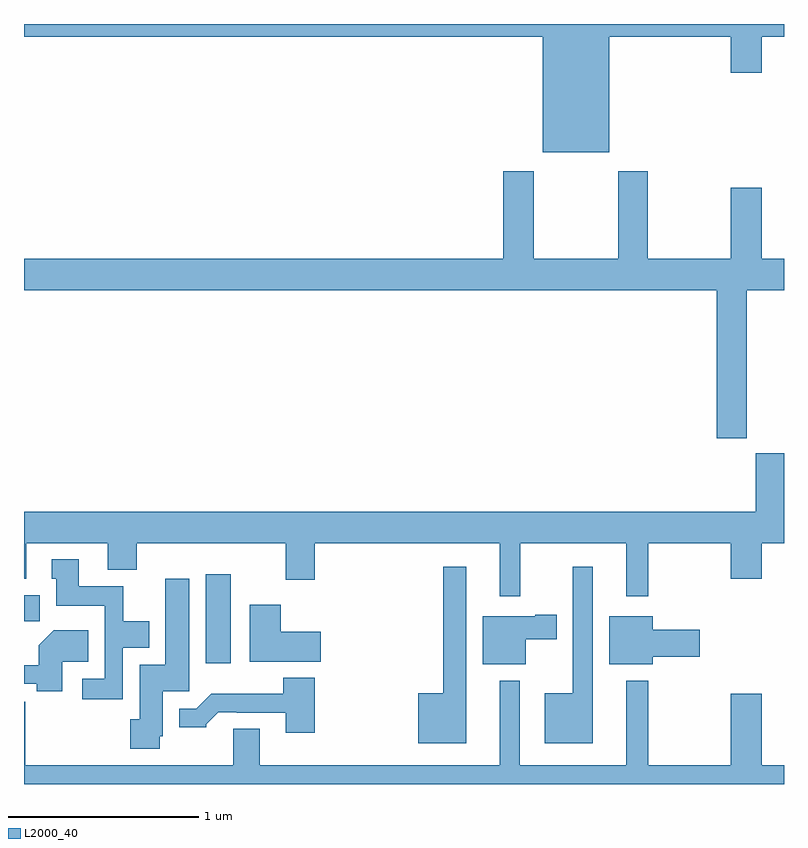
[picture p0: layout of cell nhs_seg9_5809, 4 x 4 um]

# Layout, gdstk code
import gdstk
lib = gdstk.Library(unit=1e-6, precision=1e-09)
def R(c, l, rs):  # rectangles x0, y0, x1, y1
    for r in rs: c.add(gdstk.rectangle(r[:2], r[2:], *l))
def P(c, l, *ps):  # polygons
    for p in ps: c.add(gdstk.Polygon(p, *l))
L2000_40 = (2000, 40)

nhs_seg9_5809 = lib.new_cell('nhs_seg9_5809')
R(nhs_seg9_5809, L2000_40, [(449.957,1181.136,450.088,1181.605), (449,1181.356,449.083,1181.494)])
P(nhs_seg9_5809, L2000_40, [(452.08,1184.432),(452.72,1184.432),(452.72,1184.244),(452.884,1184.244),(452.884,1184.432),(453,1184.432),(453,1184.5),(449,1184.5),(449,1184.432),(451.73,1184.432),(451.73,1183.826),(452.08,1183.826)],
  [(452.805,1183.1),(453,1183.1),(453,1183.264),(452.884,1183.264),(452.884,1183.639),(452.72,1183.639),(452.72,1183.264),(452.283,1183.264),(452.283,1183.726),(452.128,1183.726),(452.128,1183.264),(451.683,1183.264),(451.683,1183.726),(451.523,1183.726),(451.523,1183.264),(449,1183.264),(449,1183.1),(452.645,1183.1),(452.645,1182.321),(452.805,1182.321)],
  [(451.612,1181.768),(452.171,1181.768),(452.171,1181.487),(452.285,1181.487),(452.285,1181.768),(452.72,1181.768),(452.72,1181.58),(452.884,1181.58),(452.884,1181.768),(453,1181.768),(453,1182.241),(452.852,1182.241),(452.852,1181.932),(449,1181.932),(449,1181.579),(449.011,1181.579),(449.011,1181.768),(449.441,1181.768),(449.441,1181.627),(449.594,1181.627),(449.594,1181.768),(450.377,1181.768),(450.377,1181.574),(450.53,1181.574),(450.53,1181.768),(451.505,1181.768),(451.505,1181.487),(451.612,1181.487)],
  [(449.52,1181.216),(449.659,1181.216),(449.659,1181.356),(449.523,1181.356),(449.523,1181.542),(449.287,1181.542),(449.287,1181.683),(449.147,1181.683),(449.147,1181.58),(449.171,1181.58),(449.171,1181.438),(449.424,1181.438),(449.424,1181.055),(449.307,1181.055),(449.307,1180.947),(449.52,1180.947)],
  [(451.327,1181.644),(451.206,1181.644),(451.206,1180.978),(451.076,1180.978),(451.076,1180.715),(451.327,1180.715)],
  [(451.993,1181.644),(451.889,1181.644),(451.889,1180.978),(451.742,1180.978),(451.742,1180.715),(451.993,1180.715)],
  [(449.715,1180.752),(449.731,1180.752),(449.731,1180.989),(449.869,1180.989),(449.869,1181.581),(449.744,1181.581),(449.744,1181.128),(449.609,1181.128),(449.609,1180.842),(449.558,1180.842),(449.558,1180.686),(449.715,1180.686)],
  [(450.562,1181.302),(450.352,1181.302),(450.352,1181.443),(450.188,1181.443),(450.188,1181.144),(450.562,1181.144)],
  [(451.642,1181.261),(451.804,1181.261),(451.804,1181.391),(451.691,1181.391),(451.691,1181.383),(451.415,1181.383),(451.415,1181.129),(451.642,1181.129)],
  [(452.308,1181.171),(452.557,1181.171),(452.557,1181.313),(452.308,1181.313),(452.308,1181.383),(452.081,1181.383),(452.081,1181.129),(452.308,1181.129)],
  [(449.2,1181.144),(449.339,1181.144),(449.339,1181.308),(449.156,1181.308),(449.078,1181.23),(449.078,1181.124),(449,1181.124),(449,1181.028),(449.066,1181.028),(449.066,1180.987),(449.2,1180.987)],
  [(450.53,1181.059),(450.365,1181.059),(450.365,1180.975),(449.986,1180.975),(449.907,1180.896),(449.816,1180.896),(449.816,1180.799),(449.958,1180.799),(449.958,1180.814),(450.022,1180.878),(450.121,1180.878),(450.121,1180.875),(450.377,1180.875),(450.377,1180.77),(450.53,1180.77)],
  [(453,1180.6),(452.884,1180.6),(452.884,1180.975),(452.72,1180.975),(452.72,1180.6),(452.285,1180.6),(452.285,1181.044),(452.171,1181.044),(452.171,1180.6),(451.609,1180.6),(451.609,1181.044),(451.505,1181.044),(451.505,1180.6),(450.241,1180.6),(450.241,1180.79),(450.101,1180.79),(450.101,1180.6),(449.006,1180.6),(449.006,1180.933),(449,1180.933),(449,1180.5),(453,1180.5)])

lib.write_gds('nhs_seg9_5809.gds')
